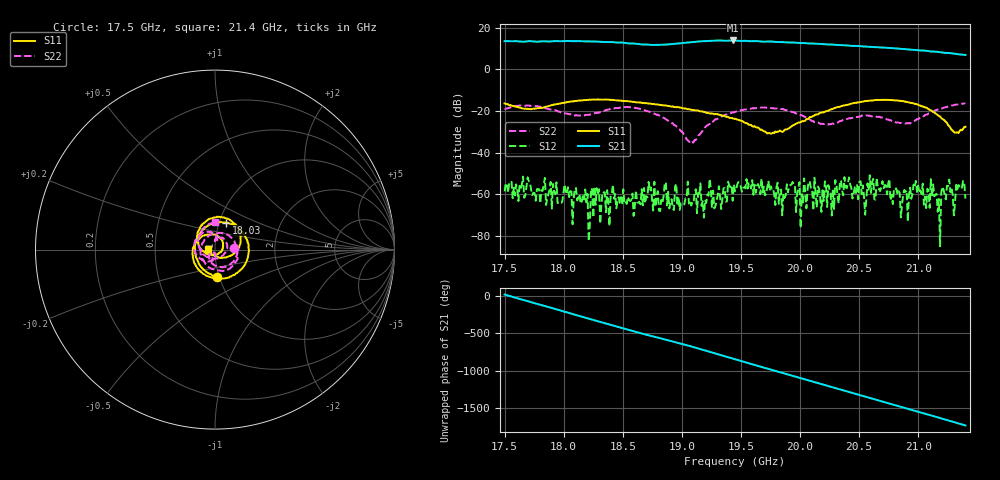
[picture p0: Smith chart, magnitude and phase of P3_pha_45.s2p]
!Created with skrf (http://scikit-rf.org).
# GHz S RI R 50.0
!freq ReS11 ImS11 ReS21 ImS21 ReS12 ImS12 ReS22 ImS22
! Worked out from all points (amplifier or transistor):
!   401 points, 17.5 GHz to 21.4 GHz, reference 50 ohm
!   highest |S21| = 13.9 dB at 19.43 GHz (marker M1)
!   |S21| within 3 dB of that: start of sweep to 20.58 GHz
!   unconditionally stable (mu >= 1): start of sweep to end of sweep
!   at 18.14 GHz: K = 170.83, MAG = 13.7 dB, |S12| = -64.6 dB
!   at 19.45 GHz: K = 85.20, MAG = 13.9 dB, |S12| = -58.6 dB
!   at 21.4 GHz: K = 277.33, MAG = 7.0 dB, |S12| = -62.0 dB
!   S11 on the Smith chart (normalised r, x): 17.5 GHz: 0.98, -0.30; 18.03 GHz: 1.08, +0.33; 21.4 GHz: 0.92, +0.01
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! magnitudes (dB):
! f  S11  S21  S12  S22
! 17.5 GHz  -16.3  13.6  -58.6  -19.3
! 17.7 GHz  -19.0  13.6  -53.7  -17.4
! 17.97 GHz  -16.4  13.5  -64.2  -20.3
! 18.03 GHz  -15.7  13.7  -60.0  -21.2
! 18.15 GHz  -14.9  13.5  -63.5  -22.0
! 18.23 GHz  -14.6  13.4  -57.1  -21.6
! 18.28 GHz  -14.5  13.3  -57.1  -20.9
! 18.81 GHz  -17.0  11.9  -67.8  -22.1
! 19.08 GHz  -19.3  13.1  -65.4  -35.5
! 19.43 GHz  -23.5  13.9  -63.1  -20.6
! 19.45 GHz  -23.7  13.8  -58.6  -20.5
! 19.74 GHz  -30.6  13.4  -58.3  -18.5
! 19.86 GHz  -29.8  13.1  -59.7  -19.2
! 19.94 GHz  -27.0  12.9  -54.1  -20.4
! 19.99 GHz  -25.6  12.8  -56.7  -21.3
! 20.1 GHz  -22.7  12.4  -57.8  -24.9
! 20.76 GHz  -14.7  10.3  -52.7  -24.4
! 21.13 GHz  -20.4  8.5  -55.3  -20.3
! 21.17 GHz  -22.0  8.4  -68.4  -19.3
! 21.26 GHz  -27.3  7.9  -52.9  -17.6
! 21.29 GHz  -29.5  7.7  -60.4  -17.3
! 21.4 GHz  -27.6  6.9  -62.0  -16.2
